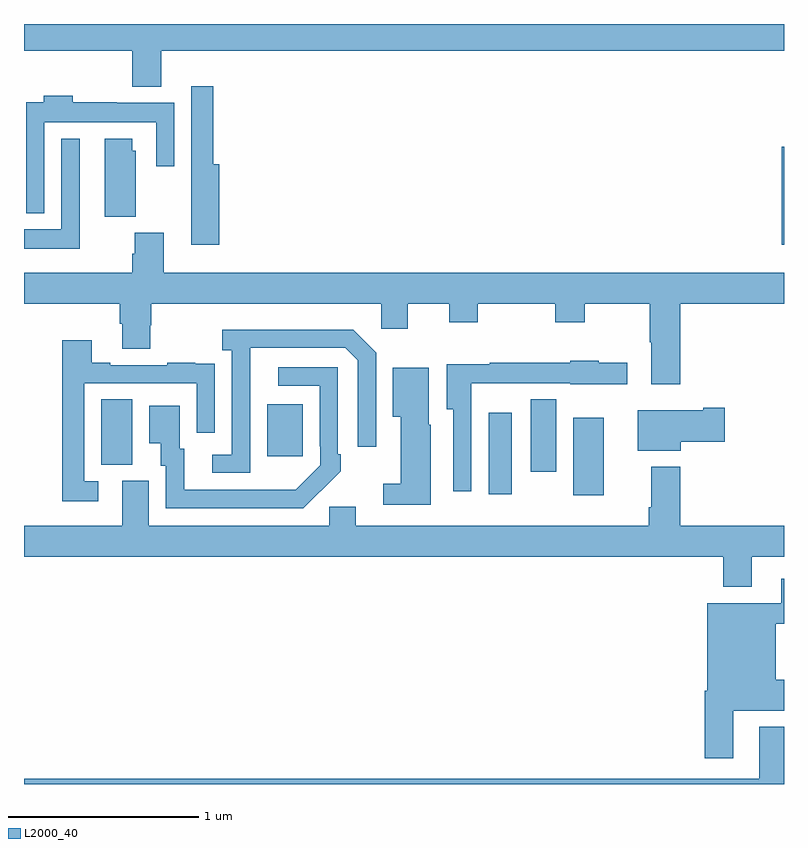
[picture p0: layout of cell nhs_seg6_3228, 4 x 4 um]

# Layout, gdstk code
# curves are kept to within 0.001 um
import gdstk
lib = gdstk.Library(unit=1e-6, precision=1e-09)
def R(c, l, rs):  # rectangles x0, y0, x1, y1
    for r in rs: c.add(gdstk.rectangle(r[:2], r[2:], *l))
def P(c, l, *ps):  # polygons
    for p in ps: c.add(gdstk.Polygon(p, *l))
L2000_40 = (2000, 40)

nhs_seg6_3228 = lib.new_cell('nhs_seg6_3228')
R(nhs_seg6_3228, L2000_40, [(303.89,921.021,304.051,921.427), (303.446,921.024,303.568,921.454), (303.668,921.144,303.802,921.524), (301.406,921.181,301.57,921.524), (302.279,921.225,302.467,921.499), (304.988,922.338,305,922.855)])
P(nhs_seg6_3228, L2000_40, [(301.723,923.36),(305,923.36),(305,923.5),(301,923.5),(301,923.36),(301.571,923.36),(301.571,923.171),(301.723,923.171)],
  [(302.027,922.762),(301.997,922.762),(301.997,923.173),(301.881,923.173),(301.881,922.658),(301.88,922.658),(301.88,922.338),(302.027,922.338)],
  [(301.107,922.982),(301.695,922.982),(301.695,922.752),(301.791,922.752),(301.791,923.086),(301.487,923.086),(301.487,923.089),(301.256,923.089),(301.256,923.122),(301.103,923.122),(301.103,923.089),(301.011,923.089),(301.011,922.505),(301.107,922.505)],
  [(301.294,922.897),(301.197,922.897),(301.197,922.42),(301,922.42),(301,922.316),(301.294,922.316)],
  [(301.588,922.833),(301.57,922.833),(301.57,922.897),(301.424,922.897),(301.424,922.486),(301.588,922.486)],
  [(304.454,922.028),(305,922.028),(305,922.192),(301.736,922.192),(301.736,922.401),(301.583,922.401),(301.583,922.292),(301.571,922.292),(301.571,922.192),(301,922.192),(301,922.028),(301.505,922.028),(301.505,921.922),(301.517,921.922),(301.517,921.79),(301.665,921.79),(301.665,921.915),(301.67,921.915),(301.67,922.028),(302.88,922.028),(302.88,921.897),(303.019,921.897),(303.019,922.028),(303.239,922.028),(303.239,921.929),(303.387,921.929),(303.387,922.028),(303.796,922.028),(303.796,921.929),(303.951,921.929),(303.951,922.028),(304.294,922.028),(304.294,921.824),(304.301,921.824),(304.301,921.603),(304.454,921.603)],
  [(302.19,921.595),(302.191,921.795),(302.691,921.795),(302.757,921.729),(302.757,921.276),(302.853,921.276),(302.853,921.771),(302.732,921.892),(302.043,921.892),(302.043,921.782),(302.094,921.782),(302.094,921.234),(301.992,921.234),(301.992,921.138),(302.19,921.138)],
  [(301.39,921.093),(301.317,921.093),(301.317,921.609),(301.908,921.609),(301.908,921.348),(302.004,921.348),(302.004,921.602),(302.003,921.602),(302.003,921.711),(301.901,921.711),(301.901,921.718),(301.753,921.718),(301.753,921.705),(301.453,921.705),(301.453,921.718),(301.357,921.718),(301.357,921.835),(301.201,921.835),(301.201,920.988),(301.39,920.988)],
  [(303.354,921.608),(303.564,921.608),(303.564,921.609),(303.876,921.609),(303.876,921.605),(304.174,921.605),(304.174,921.718),(304.026,921.718),(304.026,921.727),(303.876,921.727),(303.876,921.718),(303.451,921.718),(303.451,921.708),(303.224,921.708),(303.224,921.473),(303.258,921.473),(303.258,921.042),(303.354,921.042)],
  [(302.561,921.043),(302.562,921.042),(302.667,921.147),(302.667,921.235),(302.652,921.235),(302.652,921.693),(302.337,921.693),(302.337,921.597),(302.556,921.597),(302.556,921.277),(302.559,921.277),(302.559,921.177),(302.431,921.049),(301.843,921.048),(301.843,921.264),(301.819,921.264),(301.819,921.49),(301.658,921.49),(301.658,921.293),(301.721,921.293),(301.721,921.174),(301.746,921.174),(301.746,920.952),(302.47,920.952)],
  [(303.142,921.39),(303.13,921.39),(303.13,921.691),(302.942,921.691),(302.942,921.434),(302.984,921.434),(302.984,921.079),(302.892,921.079),(302.892,920.97),(303.142,920.97)],
  [(304.456,921.301),(304.687,921.301),(304.687,921.479),(304.574,921.479),(304.574,921.466),(304.229,921.466),(304.229,921.254),(304.456,921.254)],
  [(304.831,920.696),(305,920.696),(305,920.86),(304.454,920.86),(304.454,921.169),(304.301,921.169),(304.301,920.956),(304.289,920.956),(304.289,920.86),(302.746,920.86),(302.746,920.958),(302.607,920.958),(302.607,920.86),(301.657,920.86),(301.657,921.096),(301.517,921.096),(301.517,920.86),(301,920.86),(301,920.696),(304.679,920.696),(304.679,920.537),(304.831,920.537)],
  [(304.732,919.886),(305,919.886),(305,920.05),(304.957,920.05),(304.957,920.343),(305,920.343),(305,920.581),(304.985,920.581),(304.985,920.452),(304.595,920.452),(304.595,919.99),(304.583,919.99),(304.583,919.635),(304.732,919.635)],
  [(305,919.801),(304.871,919.801),(304.871,919.528),(301,919.528),(301,919.5),(305,919.5)])

lib.write_gds('nhs_seg6_3228.gds')
